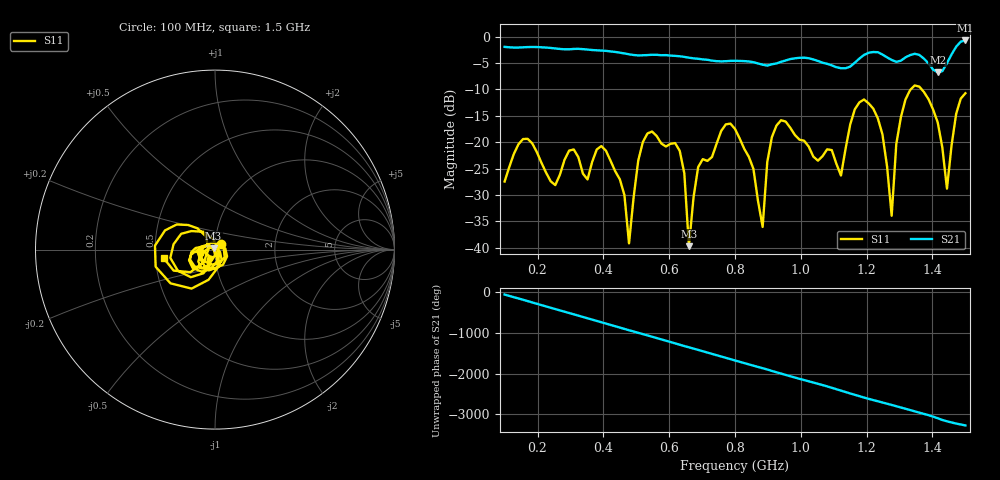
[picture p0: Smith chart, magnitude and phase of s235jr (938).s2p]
! NanoVNA-App
! Date: 2025-09-25 15:11:28
! Start: 100MHz Stop: 1,5GHz Points: 101
! S-Parameter data: F S11 S21 S12 S22
# Hz S RI R 50
!  Frequency  S11_Real  S11_Imag  S21_Real  S21_Imag  S12_Real  S12_Imag  S22_Real  S22_Imag
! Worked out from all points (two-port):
!   101 points, 100 MHz to 1.5 GHz, reference 50 ohm
!   highest |S21| = -0.74 dB at 1.5 GHz (marker M1); lowest = -6.8 dB at 1.416 GHz (marker M2)
!   |S21| within 3 dB of the highest: start of sweep to 632.7 MHz; 1.187 GHz to 1.257 GHz (69.8 MHz wide, 5.71 % of centre) (the widest 2 of 4)
!   lowest |S11| = -39.7 dB at 660 MHz (marker M3), VSWR 1.02, Z = 49.2 + j0.628 ohm
!   |S11| at or under -10 dB: start of sweep to 1.334 GHz; 1.367 GHz to end of sweep
!   S12 and S22 are empty: the file has one direction only
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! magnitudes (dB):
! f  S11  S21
! 100 MHz  -27.5  -2.0
! 156 MHz  -19.4  -2.0
! 338 MHz  -26.0  -2.4
! 408 MHz  -21.6  -2.7
! 478 MHz  -39.2  -3.4
! 520 MHz  -20.0  -3.6
! 576 MHz  -20.3  -3.5
! 632 MHz  -21.6  -3.7
! 660 MHz  -39.7  -4.0
! 688 MHz  -24.7  -4.2
! 800 MHz  -17.5  -4.6
! 884 MHz  -36.1  -5.3
! 926 MHz  -16.9  -5.1
! 1.038 GHz  -22.7  -4.3
! 1.122 GHz  -26.3  -6.0
! 1.192 GHz  -11.9  -3.5
! 1.248 GHz  -18.5  -3.4
! 1.276 GHz  -34.0  -4.4
! 1.332 GHz  -10.1  -3.5
! 1.416 GHz  -16.3  -6.8
! 1.444 GHz  -28.8  -5.0
! 1.5 GHz  -10.7  -0.7
